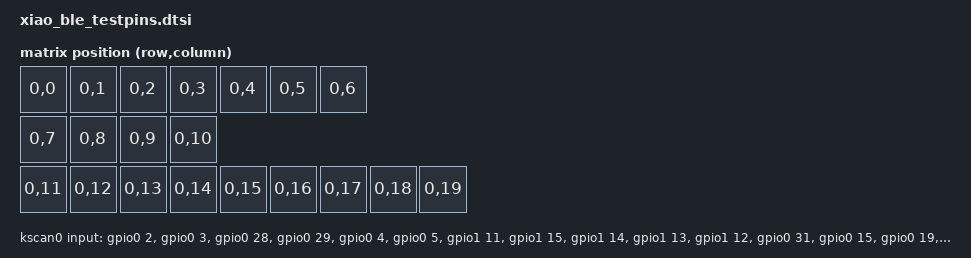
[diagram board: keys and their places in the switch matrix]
/*
 * Copyright (c) 2020 The ZMK Contributors
 *
 * SPDX-License-Identifier: MIT
 */

#include <dt-bindings/zmk/matrix_transform.h>

/ {

	chosen {
		zmk,kscan = &kscan0;
		zmk,matrix_transform = &default_transform;
	};

	default_transform: keymap_transform_0 {
		compatible = "zmk,matrix-transform";
		columns = <20>;
		rows = <1>;
		map = <
		        RC(0,0)  RC(0,1)  RC(0,2) RC(0,3)  RC(0,4)  RC(0,5)  RC(0,6)
		        RC(0,7)  RC(0,8)  RC(0,9) RC(0,10)
				RC(0,11) RC(0,12) RC(0,13) RC(0,14) RC(0,15) RC(0,16) RC(0,17) RC(0,18) RC(0,19)
		>;
	};

	kscan0: kscan {
		compatible = "zmk,kscan-gpio-direct";
		label = "KSCAN";
		input-gpios
		= <&gpio0 2  (GPIO_ACTIVE_LOW | GPIO_PULL_UP)>
		, <&gpio0 3  (GPIO_ACTIVE_LOW | GPIO_PULL_UP)>
		, <&gpio0 28 (GPIO_ACTIVE_LOW | GPIO_PULL_UP)>
		, <&gpio0 29 (GPIO_ACTIVE_LOW | GPIO_PULL_UP)>
		, <&gpio0 4  (GPIO_ACTIVE_LOW | GPIO_PULL_UP)>
		, <&gpio0 5  (GPIO_ACTIVE_LOW | GPIO_PULL_UP)>
		, <&gpio1 11 (GPIO_ACTIVE_LOW | GPIO_PULL_UP)>

		, <&gpio1 15 (GPIO_ACTIVE_LOW | GPIO_PULL_UP)>
		, <&gpio1 14 (GPIO_ACTIVE_LOW | GPIO_PULL_UP)>
		, <&gpio1 13 (GPIO_ACTIVE_LOW | GPIO_PULL_UP)>
		, <&gpio1 12 (GPIO_ACTIVE_LOW | GPIO_PULL_UP)>

		, <&gpio0 31 (GPIO_ACTIVE_LOW | GPIO_PULL_UP)>
		, <&gpio0 15 (GPIO_ACTIVE_LOW | GPIO_PULL_UP)>
		, <&gpio0 19 (GPIO_ACTIVE_LOW | GPIO_PULL_UP)>
		, <&gpio1 1  (GPIO_ACTIVE_LOW | GPIO_PULL_UP)>
		, <&gpio1 3  (GPIO_ACTIVE_LOW | GPIO_PULL_UP)>
		, <&gpio1 7  (GPIO_ACTIVE_LOW | GPIO_PULL_UP)>
		, <&gpio1 5  (GPIO_ACTIVE_LOW | GPIO_PULL_UP)>

		, <&gpio0 10 (GPIO_ACTIVE_LOW | GPIO_PULL_UP)>
		, <&gpio0 9  (GPIO_ACTIVE_LOW | GPIO_PULL_UP)>

		;
	};

};
